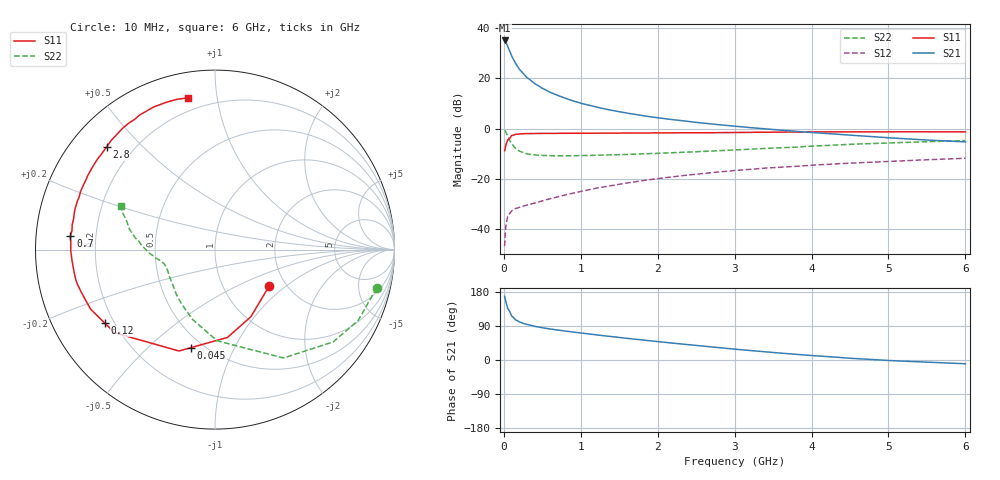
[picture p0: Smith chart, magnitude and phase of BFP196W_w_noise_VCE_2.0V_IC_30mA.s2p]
! Infineon Technologies  Discrete & RF Semiconductors
! BFP196W
! VCE = 2.0 V,  IC =  30mA
! Common Emitter S-Parameters:  Jan 2016
# GHz  S  MA  R  50
!  f  S11  S21  S12  S22
! GHz  MAG  ANG  MAG  ANG  MAG  ANG  MAG  ANG
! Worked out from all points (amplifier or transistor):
!   210 points, 10 MHz to 6 GHz, reference 50 ohm
!   highest |S21| = 35.1 dB at 10 MHz (marker M1)
!   |S21| within 3 dB of that: start of sweep to 59.35 MHz
!   unconditionally stable (mu >= 1): 739 MHz to 3.319 GHz
!   at 185 MHz: K = 0.43, MSG = 28.0 dB, |S12| = -31.5 dB
!   at 1.52 GHz: K = 1.13, MAG = 12.1 dB, |S12| = -22.0 dB
!   at 6 GHz: K = 0.95, MSG = 3.3 dB, |S12| = -11.8 dB
!   lowest NFmin = 1.40 dB at 500 MHz
!   S11 on the Smith chart (normalised r, x): 10 MHz: 1.65, -0.76; 45 MHz: 0.43, -0.69; 120 MHz: 0.16, -0.30; 700 MHz: 0.11, +0.05; 2.8 GHz: 0.11, +0.39; 6 GHz: 0.13, +0.83
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0.01  0.3637 -33.4  56.56 168.0  0.0046 79.1  0.9251 -13.4
0.02  0.4243 -61.9  55.16 159.3  0.009 72.0  0.8903 -26.3
0.03  0.4942 -81.9  51.5 150.5  0.0129 63.6  0.8359 -37.9
0.045  0.5621 -103.7  44.94 140.1  0.0165 54.2  0.7358 -52.2
0.05  0.5997 -109.6  43.15 136.0  0.0178 52.0  0.7144 -57.7
0.1  0.7265 -140.4  27.96 116.4  0.0232 38.9  0.5075 -88.8
0.12  0.7378 -146.2  24.68 113.1  0.0242 37.0  0.462 -95.4
0.15  0.7683 -154.4  19.97 106.2  0.0257 34.4  0.4085 -107.9
0.2  0.7811 -161.9  15.29 100.6  0.0272 34.3  0.3588 -120.5
0.26  0.7933 -167.5  12.04 96.0  0.0289 35.7  0.3302 -130.6
0.3  0.7948 -170.3  10.38 93.7  0.0302 37.2  0.3146 -136.1
0.4  0.7992 -175.7  7.859 88.8  0.033 40.7  0.2999 -144.9
0.5  0.8035 -179.7  6.332 85.0  0.0366 44.3  0.2931 -150.9
0.7  0.8091 174.7  4.569 79.0  0.0439 49.8  0.2872 -157.7
1.02  0.8068 167.7  3.142 70.8  0.0573 54.3  0.2914 -163.0
1.4  0.813 160.4  2.313 61.7  0.074 56.4  0.3011 -166.4
2.02  0.8205 149.5  1.63 48.1  0.1023 55.7  0.3232 -170.5
2.8  0.8318 136.6  1.193 32.4  0.1377 51.2  0.3637 -176.6
3.1  0.8406 132.0  1.08 26.9  0.151 48.7  0.3833 -179.7
4.1  0.8599 118.1  0.817 10.5  0.1909 40.9  0.4558 170.7
5.1  0.8641 107.4  0.645 -2.1  0.2261 33.0  0.5255 161.2
6  0.8595 100.1  0.545 -9.9  0.2572 26.6  0.5773 155.1
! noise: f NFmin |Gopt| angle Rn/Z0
0.5  1.4  0.4  -173  0.08
0.9  1.6  0.5  -166  0.08
1.5  2.4  0.61  -150  0.14
2  2.9  0.71  -129  0.2
